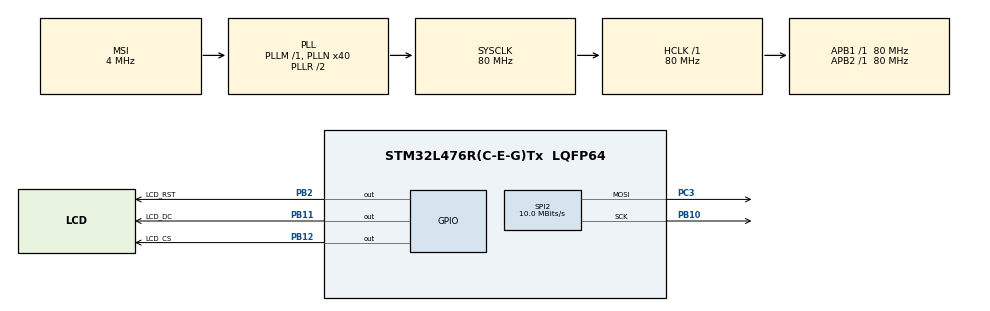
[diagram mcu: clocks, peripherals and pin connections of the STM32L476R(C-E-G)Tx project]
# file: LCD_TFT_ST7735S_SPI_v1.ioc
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Dma.Request0=SPI2_TX
Dma.SPI2_TX.0.Direction=DMA_MEMORY_TO_PERIPH
Dma.SPI2_TX.0.Instance=DMA1_Channel5
Dma.SPI2_TX.0.MemDataAlignment=DMA_MDATAALIGN_BYTE
Dma.SPI2_TX.0.MemInc=DMA_MINC_ENABLE
Dma.SPI2_TX.0.Mode=DMA_NORMAL
Dma.SPI2_TX.0.PeriphDataAlignment=DMA_PDATAALIGN_BYTE
Dma.SPI2_TX.0.PeriphInc=DMA_PINC_DISABLE
Dma.SPI2_TX.0.Priority=DMA_PRIORITY_LOW
Mcu.Family=STM32L4
Mcu.Name=STM32L476R(C-E-G)Tx
Mcu.Package=LQFP64
NVIC.DMA1_Channel5_IRQn=true\:0\:0\:false\:false\:true\:false\:true\:true
NVIC.PriorityGroup=NVIC_PRIORITYGROUP_4
PB10.Mode=TX_Only_Simplex_Unidirect_Master
PB10.Signal=SPI2_SCK
PB11.GPIO_Label=LCD_DC
PB11.Signal=GPIO_Output
PB12.GPIO_Label=LCD_CS
PB12.Signal=GPIO_Output
PB2.GPIO_Label=LCD_RST
PB2.Signal=GPIO_Output
PC3.Mode=TX_Only_Simplex_Unidirect_Master
PC3.Signal=SPI2_MOSI
ProjectManager.HeapSize=0x200
ProjectManager.StackSize=0x400
ProjectManager.TargetToolchain=STM32CubeIDE
RCC.AHBFreq_Value=80000000
RCC.APB1Freq_Value=80000000
RCC.APB1TimFreq_Value=80000000
RCC.APB2Freq_Value=80000000
RCC.APB2TimFreq_Value=80000000
RCC.CortexFreq_Value=80000000
RCC.HCLKFreq_Value=80000000
RCC.HSE_VALUE=8000000
RCC.HSI_VALUE=16000000
RCC.LSE_VALUE=32768
RCC.MSI_VALUE=4000000
RCC.PLLN=40
RCC.SYSCLKFreq_VALUE=80000000
RCC.SYSCLKSource=RCC_SYSCLKSOURCE_PLLCLK
RCC.VCOOutputFreq_Value=160000000
SPI2.BaudRatePrescaler=SPI_BAUDRATEPRESCALER_8
SPI2.CalculateBaudRate=10.0 MBits/s
SPI2.DataSize=SPI_DATASIZE_8BIT
SPI2.Direction=SPI_DIRECTION_2LINES
SPI2.Mode=SPI_MODE_MASTER
SPI2.VirtualType=VM_MASTER
board=custom

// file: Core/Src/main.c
/* USER CODE BEGIN Header */
/**
  ******************************************************************************
  * @file           : main.c
  * @brief          : Main program body
  ******************************************************************************
  * @attention
  *
  * Copyright (c) 2024 STMicroelectronics.
  * All rights reserved.
  *
  * This software is licensed under terms that can be found in the LICENSE file
  * in the root directory of this software component.
  * If no LICENSE file comes with this software, it is provided AS-IS.
  *
  ******************************************************************************
  */
/* USER CODE END Header */
#include "main.h"
#include "dma.h"
#include "spi.h"
#include "gpio.h"

/* USER CODE BEGIN Includes */
#include "lcd.h"
#include "image.c" //separate file for better clarity
/* USER CODE END Includes */

void SystemClock_Config(void);
/* USER CODE BEGIN PFP */
//This tells us that communication is done and we can deselect SPI device
void HAL_SPI_TxCpltCallback(SPI_HandleTypeDef *hspi)
{
	if (hspi == &hspi2)
	{
		lcd_transfer_done();
	}
}
/* USER CODE END PFP */

int main(void)
{

  /* MCU Configuration--------------------------------------------------------*/

  /* Reset of all peripherals, Initializes the Flash interface and the Systick. */
  HAL_Init();

  /* Configure the system clock */
  SystemClock_Config();

  /* Initialize all configured peripherals */
  MX_GPIO_Init();
  MX_DMA_Init();
  MX_SPI2_Init();
  /* USER CODE BEGIN 2 */
  lcd_init();
  lcd_clear();
  HAL_Delay(1000);

  //The below produces a rainbow-like screen and then draws a Linux logo
  //in top-left corner
  lcd_fill_box(0, 0, 160, 16, RED);
  lcd_fill_box(0, 16, 160, 16, GREEN);
  lcd_fill_box(0, 32, 160, 16, BLUE);
  lcd_fill_box(0, 48, 160, 16, YELLOW);
  lcd_fill_box(0, 64, 160, 16, MAGENTA);
  lcd_fill_box(0, 80, 160, 16, CYAN);
  lcd_fill_box(0, 96, 160, 16, WHITE);
  lcd_fill_box(0, 112, 160, 16, BLACK);

  //Also make sure that the provided resolution is equal to your image resolution
  lcd_draw_image(0, 0, 84, 100, image_data);
  //lcd_clear();

  /* USER CODE END 2 */

  /* Infinite loop */
  /* USER CODE BEGIN WHILE */
  while (1)
  {
	  //currently the loop does nothing but it's a good place to experiment
	  //with animating stuff etc.
    /* USER CODE END WHILE */

  }
}

void SystemClock_Config(void)
{
  RCC_OscInitTypeDef RCC_OscInitStruct = {0};
  RCC_ClkInitTypeDef RCC_ClkInitStruct = {0};

  /** Configure the main internal regulator output voltage
  */
  if (HAL_PWREx_ControlVoltageScaling(PWR_REGULATOR_VOLTAGE_SCALE1) != HAL_OK)
  {
    Error_Handler();
  }

  /** Initializes the RCC Oscillators according to the specified parameters
  * in the RCC_OscInitTypeDef structure.
  */
  RCC_OscInitStruct.OscillatorType = RCC_OSCILLATORTYPE_MSI;
  RCC_OscInitStruct.MSIState = RCC_MSI_ON;
  RCC_OscInitStruct.MSICalibrationValue = 0;
  RCC_OscInitStruct.MSIClockRange = RCC_MSIRANGE_6;
  RCC_OscInitStruct.PLL.PLLState = RCC_PLL_ON;
  RCC_OscInitStruct.PLL.PLLSource = RCC_PLLSOURCE_MSI;
  RCC_OscInitStruct.PLL.PLLM = 1;
  RCC_OscInitStruct.PLL.PLLN = 40;
  RCC_OscInitStruct.PLL.PLLP = RCC_PLLP_DIV7;
  RCC_OscInitStruct.PLL.PLLQ = RCC_PLLQ_DIV2;
  RCC_OscInitStruct.PLL.PLLR = RCC_PLLR_DIV2;
  if (HAL_RCC_OscConfig(&RCC_OscInitStruct) != HAL_OK)
  {
    Error_Handler();
  }

  /** Initializes the CPU, AHB and APB buses clocks
  */
  RCC_ClkInitStruct.ClockType = RCC_CLOCKTYPE_HCLK|RCC_CLOCKTYPE_SYSCLK
                              |RCC_CLOCKTYPE_PCLK1|RCC_CLOCKTYPE_PCLK2;
  RCC_ClkInitStruct.SYSCLKSource = RCC_SYSCLKSOURCE_PLLCLK;
  RCC_ClkInitStruct.AHBCLKDivider = RCC_SYSCLK_DIV1;
  RCC_ClkInitStruct.APB1CLKDivider = RCC_HCLK_DIV1;
  RCC_ClkInitStruct.APB2CLKDivider = RCC_HCLK_DIV1;

  if (HAL_RCC_ClockConfig(&RCC_ClkInitStruct, FLASH_LATENCY_4) != HAL_OK)
  {
    Error_Handler();
  }
}

void Error_Handler(void)
{
  __disable_irq();
  while (1)
  {
  }
}
